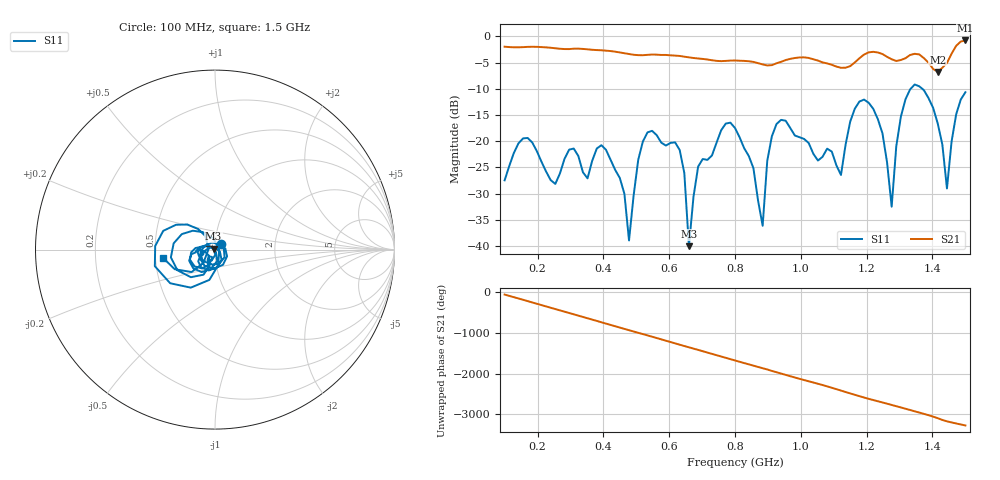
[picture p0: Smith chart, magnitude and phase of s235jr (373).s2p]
! NanoVNA-App
! Date: 2025-09-25 15:07:04
! Start: 100MHz Stop: 1,5GHz Points: 101
! S-Parameter data: F S11 S21 S12 S22
# Hz S RI R 50
!  Frequency  S11_Real  S11_Imag  S21_Real  S21_Imag  S12_Real  S12_Imag  S22_Real  S22_Imag
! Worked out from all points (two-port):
!   101 points, 100 MHz to 1.5 GHz, reference 50 ohm
!   highest |S21| = -0.77 dB at 1.5 GHz (marker M1); lowest = -6.8 dB at 1.416 GHz (marker M2)
!   |S21| within 3 dB of the highest: start of sweep to 636.2 MHz; 1.186 GHz to 1.259 GHz (72.76 MHz wide, 5.95 % of centre) (the widest 2 of 4)
!   lowest |S11| = -40.0 dB at 660 MHz (marker M3), VSWR 1.02, Z = 49.2 + j0.573 ohm
!   |S11| at or under -10 dB: start of sweep to 1.334 GHz; 1.369 GHz to end of sweep
!   S12 and S22 are empty: the file has one direction only
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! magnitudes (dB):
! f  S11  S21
! 100 MHz  -27.5  -2.0
! 156 MHz  -19.5  -2.0
! 338 MHz  -25.9  -2.4
! 408 MHz  -21.6  -2.7
! 478 MHz  -38.9  -3.4
! 520 MHz  -20.1  -3.6
! 576 MHz  -20.3  -3.5
! 632 MHz  -21.7  -3.7
! 660 MHz  -40.0  -4.0
! 688 MHz  -24.8  -4.2
! 800 MHz  -17.5  -4.6
! 884 MHz  -36.1  -5.4
! 926 MHz  -16.7  -5.1
! 1.038 GHz  -22.4  -4.4
! 1.122 GHz  -26.4  -6.0
! 1.192 GHz  -12.1  -3.5
! 1.248 GHz  -18.5  -3.4
! 1.276 GHz  -32.5  -4.4
! 1.332 GHz  -10.1  -3.5
! 1.416 GHz  -16.6  -6.8
! 1.444 GHz  -29.0  -5.1
! 1.5 GHz  -10.7  -0.8
